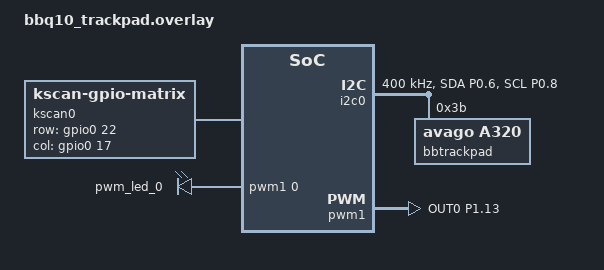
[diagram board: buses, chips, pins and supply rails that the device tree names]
/*
 * BlackBerry Q10 trackpad (ADBS-A320) test shield for nice!nano v2.
 * Trackpad circuit is identical to the ZitaotechQ10 Pro schematic, except
 * SDA moves from P1.09 (not broken out on nice!nano) to P0.06.
 *
 *   P0.06 (D1)  TP_SDA_3V3   I2C SDA, pulled up by RN1, no internal pull
 *   P0.08 (D0)  TP_SCL_3V3   I2C SCL, pulled up by RN1, no internal pull
 *   P1.01       TP_MOTION    hard-coded as gpio1 pin 1 in a320.c
 *   P1.13 (D15) TPBLK        trackpad backlight PWM
 *   P0.22 (D4)  ROW8 / KEYA  trackpad press switch
 *   P0.17 (D2)  COL3 / KEYB  trackpad press switch
 *
 * SPDX-License-Identifier: MIT
 */

#include <dt-bindings/zmk/matrix_transform.h>

/ {
    chosen {
        zmk,kscan = &kscan0;
        zmk,matrix-transform = &default_transform;
        zmk,trackpad_led = &trackpad_led;
    };

    kscan0: kscan {
        compatible = "zmk,kscan-gpio-matrix";
        diode-direction = "col2row";
        wakeup-source;
        row-gpios = <&gpio0 22 (GPIO_ACTIVE_HIGH | GPIO_PULL_DOWN)>;
        col-gpios = <&gpio0 17 GPIO_ACTIVE_HIGH>;
    };

    default_transform: keymap_transform_0 {
        compatible = "zmk,matrix-transform";
        rows = <1>;
        columns = <1>;
        map = <RC(0,0)>;
    };

    trackpad_led: trackpad_led {
        compatible = "pwm-leds";
        pwm_led_0 {
            pwms = <&pwm1 0 PWM_USEC(20) PWM_POLARITY_NORMAL>;
        };
    };

    bbtrackpad_listener: bbtrackpad_listener {
        compatible = "zmk,input-listener";
        device = <&bbtrackpad>;
    };
};

&i2c0 {
    status = "okay";
    compatible = "nordic,nrf-twim";
    clock-frequency = <I2C_BITRATE_FAST>;
    pinctrl-0 = <&bbq10_i2c0_default>;
    pinctrl-1 = <&bbq10_i2c0_sleep>;
    pinctrl-names = "default", "sleep";

    bbtrackpad: a320@3b {
        compatible = "avago,a320";
        reg = <0x3b>;
    };
};

&pwm1 {
    status = "okay";
    pinctrl-0 = <&bbq10_pwm1_default>;
    pinctrl-1 = <&bbq10_pwm1_sleep>;
    pinctrl-names = "default", "sleep";
};

&pinctrl {
    bbq10_i2c0_default: bbq10_i2c0_default {
        group1 {
            psels = <NRF_PSEL(TWIM_SDA, 0, 6)>,
                <NRF_PSEL(TWIM_SCL, 0, 8)>;
        };
    };

    bbq10_i2c0_sleep: bbq10_i2c0_sleep {
        group1 {
            psels = <NRF_PSEL(TWIM_SDA, 0, 6)>,
                <NRF_PSEL(TWIM_SCL, 0, 8)>;
            low-power-enable;
        };
    };

    bbq10_pwm1_default: bbq10_pwm1_default {
        group1 {
            psels = <NRF_PSEL(PWM_OUT0, 1, 13)>;
        };
    };

    bbq10_pwm1_sleep: bbq10_pwm1_sleep {
        group1 {
            psels = <NRF_PSEL(PWM_OUT0, 1, 13)>;
            bias-pull-down;
        };
    };
};
